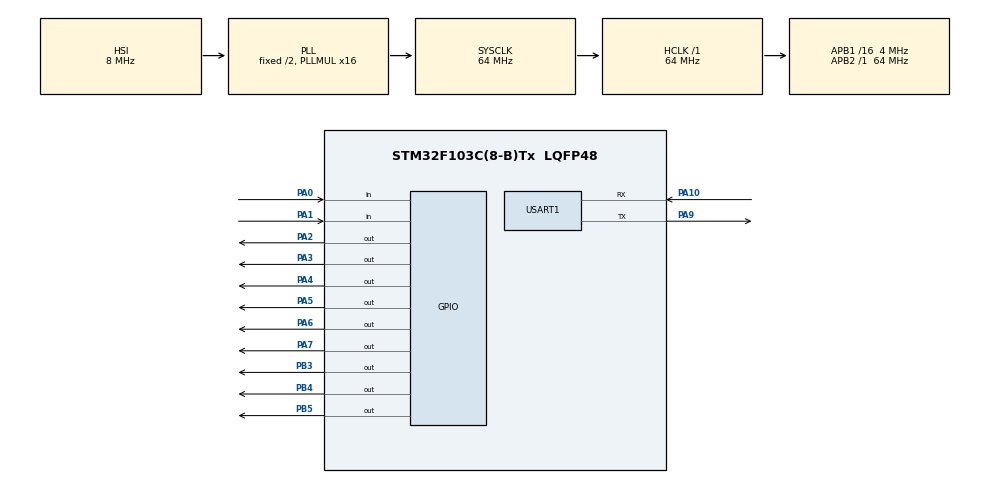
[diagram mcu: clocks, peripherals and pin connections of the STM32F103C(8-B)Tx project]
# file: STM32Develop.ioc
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Mcu.Family=STM32F1
Mcu.Name=STM32F103C(8-B)Tx
Mcu.Package=LQFP48
NVIC.PriorityGroup=NVIC_PRIORITYGROUP_4
NVIC.TIM2_IRQn=true\:0\:0\:false\:false\:true\:true\:true\:true
NVIC.USART1_IRQn=true\:0\:0\:false\:false\:true\:true\:true\:true
PA0-WKUP.GPIO_PuPd=GPIO_PULLDOWN
PA0-WKUP.Signal=GPIO_Input
PA1.GPIO_PuPd=GPIO_PULLDOWN
PA1.Signal=GPIO_Input
PA10.Mode=Asynchronous
PA10.Signal=USART1_RX
PA13.Mode=Serial_Wire
PA13.Signal=SYS_JTMS-SWDIO
PA14.Mode=Serial_Wire
PA14.Signal=SYS_JTCK-SWCLK
PA2.GPIO_Speed=GPIO_SPEED_FREQ_HIGH
PA2.PinState=GPIO_PIN_RESET
PA2.Signal=GPIO_Output
PA3.GPIO_Speed=GPIO_SPEED_FREQ_HIGH
PA3.PinState=GPIO_PIN_RESET
PA3.Signal=GPIO_Output
PA4.PinState=GPIO_PIN_SET
PA4.Signal=GPIO_Output
PA5.PinState=GPIO_PIN_RESET
PA5.Signal=GPIO_Output
PA6.GPIO_PuPd=GPIO_PULLUP
PA6.GPIO_Speed=GPIO_SPEED_FREQ_HIGH
PA6.PinState=GPIO_PIN_SET
PA6.Signal=GPIO_Output
PA7.Signal=GPIO_Output
PA9.Mode=Asynchronous
PA9.Signal=USART1_TX
PB3.Signal=GPIO_Output
PB4.Signal=GPIO_Output
PB5.Signal=GPIO_Output
ProjectManager.HeapSize=0x200
ProjectManager.StackSize=0x400
ProjectManager.TargetToolchain=MDK-ARM V5.32
RCC.AHBFreq_Value=64000000
RCC.APB1CLKDivider=RCC_HCLK_DIV16
RCC.APB1Freq_Value=4000000
RCC.APB1TimFreq_Value=8000000
RCC.APB2Freq_Value=64000000
RCC.APB2TimFreq_Value=64000000
RCC.HCLKFreq_Value=64000000
RCC.PLLMUL=RCC_PLL_MUL16
RCC.SYSCLKFreq_VALUE=64000000
RCC.SYSCLKSource=RCC_SYSCLKSOURCE_PLLCLK
RCC.USBFreq_Value=64000000
TIM2.ClockDivision=TIM_CLOCKDIVISION_DIV1
TIM2.Period=65535
TIM2.Prescaler=0
USART1.Parity=PARITY_NONE
USART1.StopBits=STOPBITS_1
USART1.VirtualMode=VM_ASYNC
USART1.WordLength=WORDLENGTH_8B
VP_TIM2_VS_ClockSourceINT.Mode=Internal
VP_TIM3_VS_ClockSourceINT.Mode=Internal
board=custom

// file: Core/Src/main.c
/* USER CODE BEGIN Header */
/**
  ******************************************************************************
  * @file           : main.c
  * @brief          : Main program body
  ******************************************************************************
  * @attention
  *
  * Copyright (c) 2023 STMicroelectronics.
  * All rights reserved.
  *
  * This software is licensed under terms that can be found in the LICENSE file
  * in the root directory of this software component.
  * If no LICENSE file comes with this software, it is provided AS-IS.
  *
  ******************************************************************************
  */
/* USER CODE END Header */
#include "main.h"

/* USER CODE BEGIN PD */

const int8_t ADC_NOP_COMMAND = 0x00;

int8_t ADC_RESET_COMMAND = 0x06;
int8_t ADC_START1_COMMAND = 0x08;
int8_t ADC_STOP1_COMMAND = 0xA;
int8_t ADC_START2_COMMAND = 0xC;
int8_t ADC_STOP2_COMMAND = 0x0E;

int8_t ADC_READ_DATA1_COMMAND = 0x12;
int8_t ADC_READ_DATA2_COMMAND = 0x14;

int8_t ADC_SYSTEM_OFFSET_CALIBRATION1_COMMAND = 0x16;
int8_t ADC_SYSTEM_GAIN_CALIBRATION1_COMMAND = 0x17;
int8_t ADC_SELF_OFFSET_CALLIBRATION1_COMMAND = 0x19;
int8_t ADC_SYSTEM_OFFSET_CALIBRATION2_COMMAND = 0x1B;
int8_t ADC_SYSTEM_GAIN_CALIBRATION2_COMMAND = 0x1C;
int8_t ADC_SELF_OFFSET_CALLIBRATION2_COMMAND = 0x1E;

int8_t ADC_MASK_READ_REGISTERS_COMMAND = 0x20;
int8_t ADC_MASK_WRITE_REGISTERS_COMMAND = 0x40;

GPIO_TypeDef* ADC_CONTROL_GPIO = GPIOA;
int8_t ADC_CONTROL_PIN_DRDY = GPIO_PIN_0;
int8_t ADC_CONTROL_PIN_DOUT = GPIO_PIN_1;
int8_t ADC_CONTROL_PIN_DIN = GPIO_PIN_2;
int8_t ADC_CONTROL_PIN_SCLK = GPIO_PIN_3;
int8_t ADC_CONTROL_PIN_CS = GPIO_PIN_4;
int8_t ADC_CONTROL_PIN_START = GPIO_PIN_5;
int8_t ADC_CONTROL_PIN_RESET = GPIO_PIN_6;

GPIO_TypeDef* MONOCHROME_GPIO = GPIOB;
int8_t MONOCHROME_FORWARD_PIN = GPIO_PIN_5;
int8_t MONOCHROME_STOP_PIN = GPIO_PIN_4;
int8_t MONOCHROME_REWIND_PIN = GPIO_PIN_3;

int8_t ADC_REGISTER_ID = 0x00;
int8_t ADC_REGISTER_POWER = 0x01;
int8_t ADC_REGISTER_INTERFACE = 0x02;
int8_t ADC_REGISTER_MODE0 = 0x03;
int8_t ADC_REGISTER_MODE1 = 0x04;
int8_t ADC_REGISTER_MODE2 = 0x05;
int8_t ADC_REGISTER_INPMUX = 0x06;
int8_t ADC_REGISTER_OFCAL0 = 0x07;
int8_t ADC_REGISTER_OFCAL1 = 0x08;
int8_t ADC_REGISTER_OFCAL2 = 0x09;
int8_t ADC_REGISTER_FSCAL0 = 0x0A;
int8_t ADC_REGISTER_FSCAL1 = 0x0B;
int8_t ADC_REGISTER_FSCAL2 = 0x0C;
int8_t ADC_REGISTER_IDACMUX = 0x0D;
int8_t ADC_REGISTER_IDACMAG = 0x0E;
int8_t ADC_REGISTER_REFMUX = 0x0F;
int8_t ADC_REGISTER_TDACP = 0x10;
int8_t ADC_REGISTER_TDACN = 0x11;
int8_t ADC_REGISTER_GPIOCON = 0x12;
int8_t ADC_REGISTER_GPIODIR = 0x13;
int8_t ADC_REGISTER_GPIODAT = 0x14;

int8_t ADC_INPMUX_TEMP_Sensor = 0x0B;
int8_t ADC_INPMUX_Analog_Monitor = 0x0C;
int8_t ADC_INPMUX_Digital_Monitor = 0x0D;
int8_t ADC_INPMUX_TDAC = 0x0E;
int8_t ADC_INPMUX_Float = 0x0F;

int8_t CanTranspData = 1;
int32_t summ;
int8_t count;

uint32_t time_convert = 0;
uint32_t timeout = 0;
uint8_t rx_buffer[4];
uint8_t props_buffer[30];
/* USER CODE END PD */

TIM_HandleTypeDef htim2;
TIM_HandleTypeDef htim3;

UART_HandleTypeDef huart1;

void SystemClock_Config(void);
static void MX_GPIO_Init(void);
static void MX_TIM2_Init(void);
static void MX_USART1_UART_Init(void);
static void MX_TIM3_Init(void);
/* USER CODE BEGIN PFP */
void ADC_Reset();
void ADC_Convert();
void ADC_One_Measure_Convert();
void ADC_Self_Offset_Calibration();
void ADC_System_Offset_Calibration();
void ADC_System_Gain_Calibration_5V();
void ADC_SET_Input_Mux(uint8_t inputN, uint8_t inputP);
void ADC_Send_Command(int8_t command);
uint8_t ADC_Read_Byte();

int8_t ADC_GET_Chop_Mode();
void ADC_SET_Chop_Mode(int8_t value);
int8_t ADC_GET_Delay();
void ADC_SET_Delay(int8_t value);
int8_t ADC_GET_REFREV();
void ADC_SET_REFREV(int8_t value);
int8_t ADC_READ_DEVID();
int8_t ADC_READ_REVID();
int8_t ADC_GET_VBIAS();
void ADC_SET_VBIAS(int8_t value);
int8_t ADC_GET_INTREF();
void ADC_SET_INTREF(int8_t value);
int8_t ADC_GET_Checksum_State();
void ADC_SET_Checksum_State(int8_t value);
int8_t ADC_GET_Status();
void ADC_SET_Status(int8_t value);
int8_t ADC_GET_TIMEOUT();
void ADC_SET_TIMEOUT(int8_t value);
int8_t ADC_GET_SBMAG();
void ADC_SET_SBMAG(int8_t value);
int8_t ADC_GET_SBPOL();
void ADC_SET_SBPOL(int8_t value);
int8_t ADC_GET_SBADC();
void ADC_SET_SBADC(int8_t value);
int8_t ADC_GET_FILTER();
void ADC_SET_FILTER(int8_t value);
int8_t ADC_GET_Data_Rate();
void ADC_SET_Data_Rate(int8_t value);
int8_t ADC_GET_GAIN();
void ADC_SET_GAIN(int8_t value);
int8_t ADC_GET_BYPASS();
void ADC_SET_BYPASS(int8_t value);
int8_t ADC_GET_IDACMUX1();
void ADC_SET_IDACMUX1(int8_t value);
int8_t ADC_GET_IDACMUX2();
void ADC_SET_IDACMUX2(int8_t value);
int8_t ADC_GET_IDACMAG1();
void ADC_SET_IDACMAG1(int8_t value);
int8_t ADC_GET_IDACMAG2();
void ADC_SET_IDACMAG2(int8_t value);
int8_t ADC_GET_RMUXN();
void ADC_SET_RMUXN(int8_t value);
int8_t ADC_GET_RMUXP();
void ADC_SET_RMUXP(int8_t value);
int8_t ADC_GET_MAGP();
void ADC_SET_MAGP(int8_t value);
int8_t ADC_GET_OUTP();
void ADC_SET_OUTP(int8_t value);
int8_t ADC_GET_MAGN();
void ADC_SET_MAGN(int8_t value);
int8_t ADC_GET_OUTN();
void ADC_SET_OUTN(int8_t value);
int8_t ADC_GET_COM();
void ADC_SET_COM(int8_t value);
int8_t ADC_GET_DIR();
void ADC_SET_DIR(int8_t value);
int8_t ADC_GET_DAT();
void ADC_SET_DAT(int8_t value);
void Convert_Input_Data(uint8_t* data);

/* USER CODE END PFP */

int main(void)
{

  /* MCU Configuration--------------------------------------------------------*/

  /* Reset of all peripherals, Initializes the Flash interface and the Systick. */
  HAL_Init();

  /* Configure the system clock */
  SystemClock_Config();

  /* Initialize all configured peripherals */
  MX_GPIO_Init();
  MX_TIM2_Init();
  MX_USART1_UART_Init();
  MX_TIM3_Init();
  /* USER CODE BEGIN 2 */
	HAL_UART_Receive_IT(&huart1, rx_buffer, 4);
  HAL_UART_Transmit_IT(&huart1, rx_buffer, 4);

  /* USER CODE END 2 */

  /* Infinite loop */
  while (1)
  {

  }
}

void SystemClock_Config(void)
{
  RCC_OscInitTypeDef RCC_OscInitStruct = {0};
  RCC_ClkInitTypeDef RCC_ClkInitStruct = {0};

  /** Initializes the RCC Oscillators according to the specified parameters
  * in the RCC_OscInitTypeDef structure.
  */
  RCC_OscInitStruct.OscillatorType = RCC_OSCILLATORTYPE_HSI;
  RCC_OscInitStruct.HSIState = RCC_HSI_ON;
  RCC_OscInitStruct.HSICalibrationValue = RCC_HSICALIBRATION_DEFAULT;
  RCC_OscInitStruct.PLL.PLLState = RCC_PLL_ON;
  RCC_OscInitStruct.PLL.PLLSource = RCC_PLLSOURCE_HSI_DIV2;
  RCC_OscInitStruct.PLL.PLLMUL = RCC_PLL_MUL16;
  if (HAL_RCC_OscConfig(&RCC_OscInitStruct) != HAL_OK)
  {
    Error_Handler();
  }

  /** Initializes the CPU, AHB and APB buses clocks
  */
  RCC_ClkInitStruct.ClockType = RCC_CLOCKTYPE_HCLK|RCC_CLOCKTYPE_SYSCLK
                              |RCC_CLOCKTYPE_PCLK1|RCC_CLOCKTYPE_PCLK2;
  RCC_ClkInitStruct.SYSCLKSource = RCC_SYSCLKSOURCE_PLLCLK;
  RCC_ClkInitStruct.AHBCLKDivider = RCC_SYSCLK_DIV1;
  RCC_ClkInitStruct.APB1CLKDivider = RCC_HCLK_DIV16;
  RCC_ClkInitStruct.APB2CLKDivider = RCC_HCLK_DIV1;

  if (HAL_RCC_ClockConfig(&RCC_ClkInitStruct, FLASH_LATENCY_2) != HAL_OK)
  {
    Error_Handler();
  }
}

static void MX_TIM2_Init(void)
{

  TIM_ClockConfigTypeDef sClockSourceConfig = {0};
  TIM_MasterConfigTypeDef sMasterConfig = {0};

  htim2.Instance = TIM2;
  htim2.Init.Prescaler = 0;
  htim2.Init.CounterMode = TIM_COUNTERMODE_UP;
  htim2.Init.Period = 65535;
  htim2.Init.ClockDivision = TIM_CLOCKDIVISION_DIV1;
  htim2.Init.AutoReloadPreload = TIM_AUTORELOAD_PRELOAD_DISABLE;
  if (HAL_TIM_Base_Init(&htim2) != HAL_OK)
  {
    Error_Handler();
  }
  sClockSourceConfig.ClockSource = TIM_CLOCKSOURCE_INTERNAL;
  if (HAL_TIM_ConfigClockSource(&htim2, &sClockSourceConfig) != HAL_OK)
  {
    Error_Handler();
  }
  sMasterConfig.MasterOutputTrigger = TIM_TRGO_RESET;
  sMasterConfig.MasterSlaveMode = TIM_MASTERSLAVEMODE_DISABLE;
  if (HAL_TIMEx_MasterConfigSynchronization(&htim2, &sMasterConfig) != HAL_OK)
  {
    Error_Handler();
  }

}

static void MX_TIM3_Init(void)
{

  TIM_ClockConfigTypeDef sClockSourceConfig = {0};
  TIM_MasterConfigTypeDef sMasterConfig = {0};

  htim3.Instance = TIM3;
  htim3.Init.Prescaler = 0;
  htim3.Init.CounterMode = TIM_COUNTERMODE_UP;
  htim3.Init.Period = 65535;
  htim3.Init.ClockDivision = TIM_CLOCKDIVISION_DIV1;
  htim3.Init.AutoReloadPreload = TIM_AUTORELOAD_PRELOAD_DISABLE;
  if (HAL_TIM_Base_Init(&htim3) != HAL_OK)
  {
    Error_Handler();
  }
  sClockSourceConfig.ClockSource = TIM_CLOCKSOURCE_INTERNAL;
  if (HAL_TIM_ConfigClockSource(&htim3, &sClockSourceConfig) != HAL_OK)
  {
    Error_Handler();
  }
  sMasterConfig.MasterOutputTrigger = TIM_TRGO_RESET;
  sMasterConfig.MasterSlaveMode = TIM_MASTERSLAVEMODE_DISABLE;
  if (HAL_TIMEx_MasterConfigSynchronization(&htim3, &sMasterConfig) != HAL_OK)
  {
    Error_Handler();
  }

}

static void MX_USART1_UART_Init(void)
{

  huart1.Instance = USART1;
  huart1.Init.BaudRate = 115200;
  huart1.Init.WordLength = UART_WORDLENGTH_8B;
  huart1.Init.StopBits = UART_STOPBITS_1;
  huart1.Init.Parity = UART_PARITY_NONE;
  huart1.Init.Mode = UART_MODE_TX_RX;
  huart1.Init.HwFlowCtl = UART_HWCONTROL_NONE;
  huart1.Init.OverSampling = UART_OVERSAMPLING_16;
  if (HAL_UART_Init(&huart1) != HAL_OK)
  {
    Error_Handler();
  }

}

static void MX_GPIO_Init(void)
{
  GPIO_InitTypeDef GPIO_InitStruct = {0};

  /* GPIO Ports Clock Enable */
  __HAL_RCC_GPIOA_CLK_ENABLE();
  __HAL_RCC_GPIOB_CLK_ENABLE();

  /*Configure GPIO pin Output Level */
  HAL_GPIO_WritePin(GPIOA, GPIO_PIN_2|GPIO_PIN_3|GPIO_PIN_5|GPIO_PIN_7, GPIO_PIN_RESET);

  /*Configure GPIO pin Output Level */
  HAL_GPIO_WritePin(GPIOA, GPIO_PIN_4|GPIO_PIN_6, GPIO_PIN_SET);

  /*Configure GPIO pin Output Level */
  HAL_GPIO_WritePin(GPIOB, GPIO_PIN_3|GPIO_PIN_4|GPIO_PIN_5, GPIO_PIN_RESET);

  /*Configure GPIO pins : PA0 PA1 */
  GPIO_InitStruct.Pin = GPIO_PIN_0|GPIO_PIN_1;
  GPIO_InitStruct.Mode = GPIO_MODE_INPUT;
  GPIO_InitStruct.Pull = GPIO_PULLDOWN;
  HAL_GPIO_Init(GPIOA, &GPIO_InitStruct);

  /*Configure GPIO pins : PA2 PA3 */
  GPIO_InitStruct.Pin = GPIO_PIN_2|GPIO_PIN_3;
  GPIO_InitStruct.Mode = GPIO_MODE_OUTPUT_PP;
  GPIO_InitStruct.Pull = GPIO_NOPULL;
  GPIO_InitStruct.Speed = GPIO_SPEED_FREQ_HIGH;
  HAL_GPIO_Init(GPIOA, &GPIO_InitStruct);

  /*Configure GPIO pins : PA4 PA5 PA7 */
  GPIO_InitStruct.Pin = GPIO_PIN_4|GPIO_PIN_5|GPIO_PIN_7;
  GPIO_InitStruct.Mode = GPIO_MODE_OUTPUT_PP;
  GPIO_InitStruct.Pull = GPIO_NOPULL;
  GPIO_InitStruct.Speed = GPIO_SPEED_FREQ_LOW;
  HAL_GPIO_Init(GPIOA, &GPIO_InitStruct);

  /*Configure GPIO pin : PA6 */
  GPIO_InitStruct.Pin = GPIO_PIN_6;
  GPIO_InitStruct.Mode = GPIO_MODE_OUTPUT_PP;
  GPIO_InitStruct.Pull = GPIO_PULLUP;
  GPIO_InitStruct.Speed = GPIO_SPEED_FREQ_HIGH;
  HAL_GPIO_Init(GPIOA, &GPIO_InitStruct);

  /*Configure GPIO pins : PB3 PB4 PB5 */
  GPIO_InitStruct.Pin = GPIO_PIN_3|GPIO_PIN_4|GPIO_PIN_5;
  GPIO_InitStruct.Mode = GPIO_MODE_OUTPUT_PP;
  GPIO_InitStruct.Pull = GPIO_NOPULL;
  GPIO_InitStruct.Speed = GPIO_SPEED_FREQ_LOW;
  HAL_GPIO_Init(GPIOB, &GPIO_InitStruct);

}

/* USER CODE BEGIN 4 */

void HAL_TIM_PeriodElapsedCallback(TIM_HandleTypeDef *htim)
{
	if(htim == &htim2)
	{
		time_convert++;
	}
}

void START_MONOCHROME()
{
	HAL_GPIO_WritePin(MONOCHROME_GPIO, MONOCHROME_REWIND_PIN , GPIO_PIN_RESET);
	HAL_GPIO_WritePin(MONOCHROME_GPIO, MONOCHROME_FORWARD_PIN | MONOCHROME_STOP_PIN, GPIO_PIN_SET);
}

void STOP_MONOCHROME()
{
	HAL_GPIO_WritePin(MONOCHROME_GPIO, MONOCHROME_FORWARD_PIN | MONOCHROME_STOP_PIN | MONOCHROME_REWIND_PIN, GPIO_PIN_RESET);
}

void REWIND_MONOCHROME()
{
	HAL_GPIO_WritePin(MONOCHROME_GPIO, MONOCHROME_FORWARD_PIN , GPIO_PIN_RESET);
	HAL_GPIO_WritePin(MONOCHROME_GPIO, MONOCHROME_REWIND_PIN | MONOCHROME_STOP_PIN, GPIO_PIN_SET);
}
//Delay tick by ADC (less that)
void ADC_Delay_CLK_Tiks(int8_t tiks){
	TIM3->CNT = 0;
	HAL_TIM_Base_Start_IT(&htim3);
	while(TIM3->CNT <tiks){}
	HAL_TIM_Base_Stop_IT(&htim3);
}
//Send command to ADC
//!Use command:
//!CS-LOW; Send command and CS Hight
void ADC_Send_Command(int8_t command){
	for(int i = 0; i<8; i++){
		if(command >> i & 0x01)
			HAL_GPIO_WritePin(ADC_CONTROL_GPIO, ADC_CONTROL_PIN_DIN, GPIO_PIN_SET);
		else
			HAL_GPIO_WritePin(ADC_CONTROL_GPIO, ADC_CONTROL_PIN_DIN, GPIO_PIN_RESET);
		ADC_Delay_CLK_Tiks(2);
		HAL_GPIO_WritePin(ADC_CONTROL_GPIO, ADC_CONTROL_PIN_SCLK, GPIO_PIN_SET);
		ADC_Delay_CLK_Tiks(2);
		HAL_GPIO_WritePin(ADC_CONTROL_GPIO, ADC_CONTROL_PIN_SCLK, GPIO_PIN_RESET);

	}
}

//Send command by two byte to ADC
//!Use command:
//!CS-LOW; Send command and CS Hight

//Read byte register ADC
 uint8_t ADC_Read_Byte()
{
	uint8_t result = 0;
	for(int i = 0; i<8; i++)
	{
		HAL_GPIO_WritePin(ADC_CONTROL_GPIO, ADC_CONTROL_PIN_SCLK, GPIO_PIN_SET);
		uint8_t val = HAL_GPIO_ReadPin(ADC_CONTROL_GPIO, ADC_CONTROL_PIN_DOUT) << i;
		ADC_Delay_CLK_Tiks(2);
		result = result | val;
		HAL_GPIO_WritePin(ADC_CONTROL_GPIO, ADC_CONTROL_PIN_SCLK, GPIO_PIN_RESET);
		ADC_Delay_CLK_Tiks(2);

	}
	return result;
}

void ADC_Reset()
{
	HAL_GPIO_WritePin(ADC_CONTROL_GPIO, ADC_CONTROL_PIN_CS, GPIO_PIN_RESET);
	ADC_Send_Command(ADC_RESET_COMMAND);
	HAL_GPIO_WritePin(ADC_CONTROL_GPIO, ADC_CONTROL_PIN_CS, GPIO_PIN_SET);
	ADC_Delay_CLK_Tiks(9);
}

void ADC_Start_By_Pin()
{
	HAL_GPIO_WritePin(ADC_CONTROL_GPIO, ADC_CONTROL_PIN_START, GPIO_PIN_SET);
	ADC_Delay_CLK_Tiks(5);
	HAL_GPIO_WritePin(ADC_CONTROL_GPIO, ADC_CONTROL_PIN_START, GPIO_PIN_RESET);
	ADC_Delay_CLK_Tiks(5);
	HAL_GPIO_WritePin(ADC_CONTROL_GPIO, ADC_CONTROL_PIN_START, GPIO_PIN_SET);
}
void ADC_Stop_By_Pin()
{
	HAL_GPIO_WritePin(ADC_CONTROL_GPIO, ADC_CONTROL_PIN_START, GPIO_PIN_RESET);
}

void ADC_START1()
{
	HAL_GPIO_WritePin(ADC_CONTROL_GPIO, ADC_CONTROL_PIN_CS, GPIO_PIN_RESET);
	ADC_Send_Command(ADC_START1_COMMAND);
	HAL_GPIO_WritePin(ADC_CONTROL_GPIO, ADC_CONTROL_PIN_CS, GPIO_PIN_SET);

}
void ADC_STOP1()
{
	HAL_GPIO_WritePin(ADC_CONTROL_GPIO, ADC_CONTROL_PIN_CS, GPIO_PIN_RESET);
	ADC_Send_Command(ADC_STOP1_COMMAND);
	HAL_GPIO_WritePin(ADC_CONTROL_GPIO, ADC_CONTROL_PIN_CS, GPIO_PIN_SET);
}

uint32_t ADC_READ_Data1()
{
	uint8_t status = ADC_Read_Byte();
	uint32_t data = 0;
	HAL_GPIO_WritePin(ADC_CONTROL_GPIO, ADC_CONTROL_PIN_CS, GPIO_PIN_RESET);
	for(int i=0; i<4; i++){
		data = data | ADC_Read_Byte();
		data = data << 8;
	}
	HAL_GPIO_WritePin(ADC_CONTROL_GPIO, ADC_CONTROL_PIN_CS, GPIO_PIN_SET);
	return data;
}

//adress  - 4 bit; size - 4 bit
uint8_t ADC_READ_Ceil_Memory(uint8_t adress)
{
	uint8_t command = ADC_MASK_READ_REGISTERS_COMMAND + adress;
	HAL_GPIO_WritePin(ADC_CONTROL_GPIO, ADC_CONTROL_PIN_CS, GPIO_PIN_RESET);
	ADC_Send_Command(command);
	ADC_Send_Command(0x00);
	uint8_t res = ADC_Read_Byte();
	HAL_GPIO_WritePin(ADC_CONTROL_GPIO, ADC_CONTROL_PIN_CS, GPIO_PIN_SET);
	return res;
}

void ADC_WRITE_Ceil_Memory(uint8_t adress, uint8_t value)
{
	int16_t command = ADC_MASK_WRITE_REGISTERS_COMMAND + adress;
	command = command<<8;
	command = command | 0x00;
	HAL_GPIO_WritePin(ADC_CONTROL_GPIO, ADC_CONTROL_PIN_CS, GPIO_PIN_RESET);
	ADC_Send_Command(command);
	ADC_Send_Command(0x00);
	ADC_Send_Command(value);
	HAL_GPIO_WritePin(ADC_CONTROL_GPIO, ADC_CONTROL_PIN_CS, GPIO_PIN_SET);
}

void ADC_APPEND_Byte_To_Register(uint8_t adress, uint8_t mask, uint8_t value)
{
	uint8_t old_data = ADC_READ_Ceil_Memory(adress);
	value = value & mask;
	mask = ~mask;
	old_data = (old_data & mask) | value;
	ADC_WRITE_Ceil_Memory(adress, old_data);
}

int8_t ADC_READ_Bytes_By_Mask_From_Register(uint8_t adress, uint8_t offset, uint8_t maskSize)
{
	uint8_t res = ADC_READ_Ceil_Memory(adress);
	res = res >> offset;
	res = res & maskSize;
	return res;
}

void ADC_Convert()
{
	ADC_APPEND_Byte_To_Register(ADC_REGISTER_MODE0, 0x40, 0);
	TIM2->CNT = 0;
	summ = 0;
	count = 0;
	time_convert = 0;
	START_MONOCHROME();
	HAL_TIM_Base_Start_IT(&htim2);
	ADC_Start_By_Pin();
	int i = 0;
		while(time_convert < timeout)
		{
			if(!HAL_GPIO_ReadPin(ADC_CONTROL_GPIO, ADC_CONTROL_PIN_DRDY))
			{
				HAL_GPIO_WritePin(ADC_CONTROL_GPIO, ADC_CONTROL_PIN_CS, GPIO_PIN_RESET);
				uint8_t status = ADC_Read_Byte();
				uint8_t dates[4];
				dates[0] = ADC_Read_Byte();
				dates[1] = ADC_Read_Byte();
				dates[2] = ADC_Read_Byte();
				dates[3] = ADC_Read_Byte();
				int8_t optional = ADC_Read_Byte();
				if(CanTranspData)
				{
					CanTranspData = 0;
					HAL_UART_Transmit_IT(&huart1, &dates[0], 4);
				}
				HAL_GPIO_WritePin(ADC_CONTROL_GPIO, ADC_CONTROL_PIN_CS, GPIO_PIN_SET);
			}
	}
	ADC_Stop_By_Pin();
	STOP_MONOCHROME();
	HAL_TIM_Base_Stop_IT(&htim2);
}

void RunMonochrome()
{
	TIM2->CNT = 0;
	time_convert = 0;
	START_MONOCHROME();
	HAL_TIM_Base_Start_IT(&htim2);
}
void StartTimer()
{
	TIM2->CNT = 0;
	time_convert = 0;
	HAL_TIM_Base_Start_IT(&htim2);
}

void StopMonochromeAndSaveTimeout()
{
	STOP_MONOCHROME();
	HAL_TIM_Base_Stop_IT(&htim2);
	timeout = time_convert;
}

void RunMonochromeByTimeConvert()
{
	TIM2->CNT = 0;
	time_convert = 0;
	START_MONOCHROME();
	HAL_TIM_Base_Start_IT(&htim2);
	while(time_convert < timeout)
	{

	}
	STOP_MONOCHROME();
	HAL_TIM_Base_Stop_IT(&htim2);
}

void Rewind()
{
	TIM2->CNT = 0;
	time_convert = 0;
	REWIND_MONOCHROME();
	HAL_TIM_Base_Start_IT(&htim2);
}

void RewindByTime()
{
	TIM2->CNT = 0;
	time_convert = 0;

	START_MONOCHROME();
	HAL_TIM_Base_Start_IT(&htim2);
	while(time_convert < timeout)
	{

	}
	STOP_MONOCHROME();
	HAL_TIM_Base_Stop_IT(&htim2);
	time_convert = 0;
}

void HAL_UART_TxCpltCallback(UART_HandleTypeDef *huart)
{
	CanTranspData = 1;
}

void ADC_One_Measure_Convert()
{
	ADC_APPEND_Byte_To_Register(ADC_REGISTER_MODE0, 0x40, 0x40);

	ADC_Start_By_Pin();
	while(0x01)
	{
		if(!HAL_GPIO_ReadPin(ADC_CONTROL_GPIO, ADC_CONTROL_PIN_DRDY))
		{
			HAL_GPIO_WritePin(ADC_CONTROL_GPIO, ADC_CONTROL_PIN_CS, GPIO_PIN_RESET);
			uint8_t status = ADC_Read_Byte();
			uint8_t dates[4];
			dates[0] = ADC_Read_Byte();
			dates[1] = ADC_Read_Byte();
			dates[2] = ADC_Read_Byte();
			dates[3] = ADC_Read_Byte();
			int8_t optional = ADC_Read_Byte();
			HAL_UART_Transmit(&huart1, &dates[0], 4, 0xFFFF);
			HAL_GPIO_WritePin(ADC_CONTROL_GPIO, ADC_CONTROL_PIN_CS, GPIO_PIN_SET);
			break;
		}
	}
}

void ADC_Self_Offset_Calibration()
{
	uint8_t old_impmux;
	ADC_READ_Ceil_Memory(ADC_REGISTER_INPMUX);
	uint8_t old_mode0;
	ADC_READ_Ceil_Memory(ADC_REGISTER_MODE0);

	uint8_t temp = old_mode0 & 0x11001111;
	ADC_WRITE_Ceil_Memory(ADC_REGISTER_INPMUX, 0xFF);
	ADC_WRITE_Ceil_Memory(ADC_REGISTER_MODE0, temp);

	HAL_GPIO_WritePin(ADC_CONTROL_GPIO, ADC_CONTROL_PIN_CS, GPIO_PIN_RESET);
	ADC_Send_Command(ADC_SELF_OFFSET_CALLIBRATION1_COMMAND);
	HAL_GPIO_WritePin(ADC_CONTROL_GPIO, ADC_CONTROL_PIN_CS, GPIO_PIN_SET);

	ADC_WRITE_Ceil_Memory(ADC_REGISTER_INPMUX, old_impmux);
	ADC_WRITE_Ceil_Memory(ADC_REGISTER_MODE0, old_mode0);
}

void ADC_System_Offset_Calibration()
{
	HAL_GPIO_WritePin(ADC_CONTROL_GPIO, ADC_CONTROL_PIN_CS, GPIO_PIN_RESET);
	ADC_Send_Command(ADC_SYSTEM_GAIN_CALIBRATION1_COMMAND);
	HAL_GPIO_WritePin(ADC_CONTROL_GPIO, ADC_CONTROL_PIN_CS, GPIO_PIN_SET);
}

void ADC_SET_Input_Mux(uint8_t inputN, uint8_t inputP)
{
	inputP = inputP << 8;
	inputP = inputP | inputN;
	ADC_WRITE_Ceil_Memory(ADC_REGISTER_INPMUX, inputP);
}

void ADC_System_Gain_Calibration_5V()
{
	uint8_t old_impmux;
	ADC_READ_Ceil_Memory(ADC_REGISTER_INPMUX);

	ADC_SET_Input_Mux(0x0A, ADC_INPMUX_Analog_Monitor);
	HAL_GPIO_WritePin(ADC_CONTROL_GPIO, ADC_CONTROL_PIN_CS, GPIO_PIN_RESET);
	ADC_Send_Command(ADC_SYSTEM_GAIN_CALIBRATION1_COMMAND);
	HAL_GPIO_WritePin(ADC_CONTROL_GPIO, ADC_CONTROL_PIN_CS, GPIO_PIN_SET);

	ADC_WRITE_Ceil_Memory(ADC_REGISTER_INPMUX, old_impmux);
}

int8_t ADC_GET_Chop_Mode()
{
	return ADC_READ_Bytes_By_Mask_From_Register(ADC_REGISTER_MODE0, 4, 0x03);
}
void ADC_SET_Chop_Mode(int8_t value)
{
	value = value << 4;
	ADC_APPEND_Byte_To_Register(ADC_REGISTER_MODE0, 0x30, value);
}

int8_t ADC_GET_Delay()
{
	return ADC_READ_Bytes_By_Mask_From_Register(ADC_REGISTER_MODE0, 0, 0x0F);
}
void ADC_SET_Delay(int8_t value)
{
	ADC_APPEND_Byte_To_Register(ADC_REGISTER_MODE0, 0x0F, value);
}

int8_t ADC_GET_REFREV()
{
	return ADC_READ_Bytes_By_Mask_From_Register(ADC_REGISTER_MODE0, 7, 0x01);
}
void ADC_SET_REFREV(int8_t value)
{
	value = value << 7;
	ADC_APPEND_Byte_To_Register(ADC_REGISTER_MODE0, 0x80, value);
}

int8_t ADC_READ_DEVID()
{
	return ADC_READ_Bytes_By_Mask_From_Register(ADC_REGISTER_ID, 5, 0x07);
}

int8_t ADC_READ_REVID()
{
	return ADC_READ_Bytes_By_Mask_From_Register(ADC_REGISTER_ID, 0, 0x1F);
}

int8_t ADC_GET_VBIAS()
{
	return ADC_READ_Bytes_By_Mask_From_Register(ADC_REGISTER_POWER, 1, 0x01);
}
void ADC_SET_VBIAS(int8_t value)
{
	value = value << 1;
	ADC_APPEND_Byte_To_Register(ADC_REGISTER_MODE0, 0x02, value);
}

int8_t ADC_GET_INTREF()
{
	return ADC_READ_Bytes_By_Mask_From_Register(ADC_REGISTER_MODE0, 0, 0x01);
}
void ADC_SET_INTREF(int8_t value)
{
	ADC_APPEND_Byte_To_Register(ADC_REGISTER_MODE0, 0x01, value);
}

int8_t ADC_GET_Checksum_State()
{
	return ADC_READ_Bytes_By_Mask_From_Register(ADC_REGISTER_INTERFACE, 0, 0x03);
}
void ADC_SET_Checksum_State(int8_t value)
{
	ADC_APPEND_Byte_To_Register(ADC_REGISTER_INTERFACE, 0x03, value);
}

int8_t ADC_GET_Status()
{
	return ADC_READ_Bytes_By_Mask_From_Register(ADC_REGISTER_INTERFACE, 2, 0x01);
}
void ADC_SET_Status(int8_t value)
{
	value = value << 2;
	ADC_APPEND_Byte_To_Register(ADC_REGISTER_INTERFACE, 0x04, value);
}

int8_t ADC_GET_TIMEOUT()
{
	return ADC_READ_Bytes_By_Mask_From_Register(ADC_REGISTER_INTERFACE, 3, 0x01);
}
void ADC_SET_TIMEOUT(int8_t value)
{
	value = value << 3;
	ADC_APPEND_Byte_To_Register(ADC_REGISTER_INTERFACE, 0x08, value);
}

int8_t ADC_GET_SBMAG()
{
	return ADC_READ_Bytes_By_Mask_From_Register(ADC_REGISTER_MODE1, 0, 0x07);
}
void ADC_SET_SBMAG(int8_t value)
{
	ADC_APPEND_Byte_To_Register(ADC_REGISTER_MODE1, 0x07, value);
}

int8_t ADC_GET_SBPOL()
{
	return ADC_READ_Bytes_By_Mask_From_Register(ADC_REGISTER_MODE1, 3, 0x01);
}
void ADC_SET_SBPOL(int8_t value)
{
	value = value << 3;
	ADC_APPEND_Byte_To_Register(ADC_REGISTER_MODE1, 0x08, value);
}

int8_t ADC_GET_SBADC()
{
	return ADC_READ_Bytes_By_Mask_From_Register(ADC_REGISTER_MODE1, 4, 0x01);
}
void ADC_SET_SBADC(int8_t value)
{
	value = value << 4;
	ADC_APPEND_Byte_To_Register(ADC_REGISTER_MODE1, 0x10, value);
}

int8_t ADC_GET_FILTER()
{
	return ADC_READ_Bytes_By_Mask_From_Register(ADC_REGISTER_MODE1, 5, 0x07);
}
void ADC_SET_FILTER(int8_t value)
{
	value = value << 5;
	ADC_APPEND_Byte_To_Register(ADC_REGISTER_MODE1, 0xE0, value);
}

int8_t ADC_GET_Data_Rate()
{
	return ADC_READ_Bytes_By_Mask_From_Register(ADC_REGISTER_MODE2, 0, 0x0F);
}
void ADC_SET_Data_Rate(int8_t value)
{
	ADC_APPEND_Byte_To_Register(ADC_REGISTER_MODE2, 0x0F, value);
}

int8_t ADC_GET_GAIN()
{
	return ADC_READ_Bytes_By_Mask_From_Register(ADC_REGISTER_MODE2, 4, 0x07);
}
void ADC_SET_GAIN(int8_t value)
{
	value = value << 4;
	ADC_APPEND_Byte_To_Register(ADC_REGISTER_MODE2, 0x70, value);
}

int8_t ADC_GET_BYPASS()
{
	return ADC_READ_Bytes_By_Mask_From_Register(ADC_REGISTER_MODE2, 7, 0x01);
}
void ADC_SET_BYPASS(int8_t value)
{
	value = value << 7;
	ADC_APPEND_Byte_To_Register(ADC_REGISTER_MODE2, 0x80, value);
}

int8_t ADC_GET_IDACMUX1()
{
	return ADC_READ_Bytes_By_Mask_From_Register(ADC_REGISTER_IDACMUX, 0, 0x0F);
}
void ADC_SET_IDACMUX1(int8_t value)
{
	ADC_APPEND_Byte_To_Register(ADC_REGISTER_IDACMUX, 0x0F, value);
}

int8_t ADC_GET_IDACMUX2()
{
	return ADC_READ_Bytes_By_Mask_From_Register(ADC_REGISTER_IDACMUX, 7, 0x0F);
}
void ADC_SET_IDACMUX2(int8_t value)
{
	value = value << 4;
	ADC_APPEND_Byte_To_Register(ADC_REGISTER_IDACMUX, 0xF0, value);
}

int8_t ADC_GET_IDACMAG1()
{
	return ADC_READ_Bytes_By_Mask_From_Register(ADC_REGISTER_IDACMAG, 0, 0x0F);
}
void ADC_SET_IDACMAG1(int8_t value)
{
	ADC_APPEND_Byte_To_Register(ADC_REGISTER_IDACMAG, 0x0F, value);
}

int8_t ADC_GET_IDACMAG2()
{
	return ADC_READ_Bytes_By_Mask_From_Register(ADC_REGISTER_IDACMAG, 7, 0x0F);
}
void ADC_SET_IDACMAG2(int8_t value)
{
	value = value << 4;
	ADC_APPEND_Byte_To_Register(ADC_REGISTER_IDACMAG, 0xF0, value);
}

int8_t ADC_GET_RMUXN()
{
	return ADC_READ_Bytes_By_Mask_From_Register(ADC_REGISTER_REFMUX, 0, 0x07);
}
void ADC_SET_RMUXN(int8_t value)
{
	ADC_APPEND_Byte_To_Register(ADC_REGISTER_REFMUX, 0x07, value);
}

int8_t ADC_GET_RMUXP()
{
	return ADC_READ_Bytes_By_Mask_From_Register(ADC_REGISTER_REFMUX, 3, 0x07);
}
void ADC_SET_RMUXP(int8_t value)
{
	value = value << 3;
	ADC_APPEND_Byte_To_Register(ADC_REGISTER_REFMUX, 0x38, value);
}

int8_t ADC_GET_MAGP()
{
	return ADC_READ_Bytes_By_Mask_From_Register(ADC_REGISTER_TDACP, 0, 0x1F);
}
void ADC_SET_MAGP(int8_t value)
{
	ADC_APPEND_Byte_To_Register(ADC_REGISTER_TDACP, 0x1F, value);
}

int8_t ADC_GET_OUTP()
{
	return ADC_READ_Bytes_By_Mask_From_Register(ADC_REGISTER_TDACP, 7, 0x01);
}
void ADC_SET_OUTP(int8_t value)
{
	value = value << 7;
	ADC_APPEND_Byte_To_Register(ADC_REGISTER_TDACP, 0x80, value);
}

int8_t ADC_GET_MAGN()
{
	return ADC_READ_Bytes_By_Mask_From_Register(ADC_REGISTER_TDACN, 0, 0x1F);
}
void ADC_SET_MAGN(int8_t value)
{
	ADC_APPEND_Byte_To_Register(ADC_REGISTER_TDACN, 0x1F, value);
}

int8_t ADC_GET_OUTN()
{
	return ADC_READ_Bytes_By_Mask_From_Register(ADC_REGISTER_TDACN, 7, 0x01);
}
void ADC_SET_OUTN(int8_t value)
{
	value = value << 7;
	ADC_APPEND_Byte_To_Register(ADC_REGISTER_TDACN, 0x80, value);
}

int8_t ADC_GET_COM()
{
	return ADC_READ_Bytes_By_Mask_From_Register(ADC_REGISTER_GPIOCON, 0, 0xFF);
}
void ADC_SET_COM(int8_t value)
{
	ADC_APPEND_Byte_To_Register(ADC_REGISTER_GPIOCON, 0xFF, value);
}

int8_t ADC_GET_DIR()
{
	return ADC_READ_Bytes_By_Mask_From_Register(ADC_REGISTER_GPIODIR, 0, 0xFF);
}
void ADC_SET_DIR(int8_t value)
{
	ADC_APPEND_Byte_To_Register(ADC_REGISTER_GPIODIR, 0xFF, value);
}

int8_t ADC_GET_DAT()
{
	return ADC_READ_Bytes_By_Mask_From_Register(ADC_REGISTER_GPIODAT, 0, 0xFF);
}
void ADC_SET_DAT(int8_t value)
{
	ADC_APPEND_Byte_To_Register(ADC_REGISTER_GPIODAT, 0xFF, value);
}

int8_t GetADCPropertySwitch(uint8_t index)
{

	switch(index)
		{
		case 0:
			return ADC_GET_Chop_Mode();
		case 1:
			return ADC_GET_Delay();
		case 2:
			return ADC_GET_REFREV();
		case 3:
			return ADC_READ_DEVID();
		case 4:
			return ADC_READ_REVID();
		case 5:
			return ADC_GET_VBIAS();
		case 6:
			return ADC_GET_INTREF();
		case 7:
			return ADC_GET_Checksum_State();
		case 8:
			return ADC_GET_Status();
		case 9:
			return ADC_GET_TIMEOUT();
		case 10:
			return ADC_GET_SBMAG();
		case 11:
			return ADC_GET_SBPOL();
		case 12:
			return ADC_GET_SBADC();
		case 13:
			return ADC_GET_FILTER();
		case 14:
			return ADC_GET_DIR();
		case 15:
			return ADC_GET_GAIN();
		case 16:
			return ADC_GET_BYPASS();
		case 17:
			return ADC_GET_IDACMUX1();
		case 18:
			return ADC_GET_IDACMUX2();
		case 19:
			return ADC_GET_IDACMAG1();
		case 20:
			return ADC_GET_IDACMAG2();
		case 21:
			return ADC_GET_RMUXN();
		case 22:
			return ADC_GET_RMUXP();
		case 23:
			return ADC_GET_OUTP();
		case 24:
			return ADC_GET_MAGP();
		case 25:
			return ADC_GET_OUTN();
		case 26:
			return ADC_GET_MAGN();
		case 27:
			return ADC_GET_COM();
		case 28:
			return ADC_GET_DIR();
		case 29:
			return ADC_GET_DAT();
		}
		return 0;
}

void SetADCPropertySwitch(uint8_t index, int8_t value)
{
	switch(index)
		{
		case 0:
			ADC_SET_Chop_Mode(value);
		case 1:
			ADC_SET_Delay(value);
		case 2:
			ADC_SET_REFREV(value);
		case 5:
			ADC_SET_VBIAS(value);
		case 6:
			ADC_SET_INTREF(value);
		case 7:
			ADC_SET_Checksum_State(value);
		case 8:
			ADC_SET_Status(value);
		case 9:
			ADC_SET_TIMEOUT(value);
		case 10:
			ADC_SET_SBMAG(value);
		case 11:
			ADC_SET_SBPOL(value);
		case 12:
			ADC_SET_SBADC(value);
		case 13:
			ADC_SET_FILTER(value);
		case 14:
			ADC_SET_DIR(value);
		case 15:
			ADC_SET_GAIN(value);
		case 16:
			ADC_SET_BYPASS(value);
		case 17:
			ADC_SET_IDACMUX1(value);
		case 18:
			ADC_SET_IDACMUX2(value);
		case 19:
			ADC_SET_IDACMAG1(value);
		case 20:
			ADC_SET_IDACMAG2(value);
		case 21:
			ADC_SET_RMUXN(value);
		case 22:
			ADC_SET_RMUXP(value);
		case 23:
			ADC_SET_OUTP(value);
		case 24:
			ADC_SET_MAGP(value);
		case 25:
			ADC_SET_OUTN(value);
		case 26:
			ADC_SET_MAGN(value);
		case 27:
			ADC_SET_COM(value);
		case 28:
			ADC_SET_DIR(value);
		case 29:
			ADC_SET_DAT(value);
		}
}

void HAL_UART_RxCpltCallback(UART_HandleTypeDef *huart)
{
	Convert_Input_Data(rx_buffer);
	HAL_UART_Receive_IT(&huart1, rx_buffer, 4);
}

//Array 4 byte
void Convert_Input_Data(uint8_t* data)
{

	switch(data[0])
	{
		case 0:
		{
			HAL_UART_Transmit_IT(&huart1, rx_buffer, 4);
			break;
		}
		case 1:
		{
			ADC_Reset();
			break;
		}
		case 2:
		{

			ADC_Convert();
			break;
		}
		case 3:
		{
			ADC_One_Measure_Convert();
			break;
		}
		case 4:
		{
			ADC_Self_Offset_Calibration();
			break;
		}
		case 5:
		{
			ADC_System_Offset_Calibration();
		}
		case 6:
		{
			ADC_System_Gain_Calibration_5V();
		}
		case 7:
		{
			if(data[3]&0x01)
			{
				ADC_SET_Input_Mux(7, 5);
			}
			else
			{
				ADC_SET_Input_Mux(3,5);
			}
		}
		case 8:
		{
			for(int i=0; i<30; i++){
				props_buffer[i] = GetADCPropertySwitch(i);
			}

			HAL_UART_Transmit_IT(&huart1, props_buffer, 30);
			break;
		}
		case 9:
		{
			if(data[3] < 30)
			{
				props_buffer[1] = GetADCPropertySwitch(data[3]);
				HAL_UART_Transmit_IT(&huart1, props_buffer, 1);
			}
			break;
		}
		case 10:
		{
			if(data[3] < 30)
			{
				SetADCPropertySwitch(data[2], data[3]);
			}
			break;
		}
		case 11:
		{
			RunMonochrome();
			break;
		}
		case 12:
		{
			Rewind();
			break;
		}
		case 13:
		{
			StartTimer();
			break;
		}
		case 14:
		{
			StopMonochromeAndSaveTimeout();
			HAL_UART_Transmit_IT(&huart1, &time_convert, 4);
			break;
		}
		case 15:
		{
			RunMonochromeByTimeConvert();
			break;
		}
		case 16:
		{
			RewindByTime();
			break;
		}
		case 17:
		{
			HAL_UART_Transmit_IT(&huart1, &time_convert, 4);
			break;
		}
	}
}

/* USER CODE END 4 */

void Error_Handler(void)
{
  __disable_irq();
  while (1)
  {
  }
}
